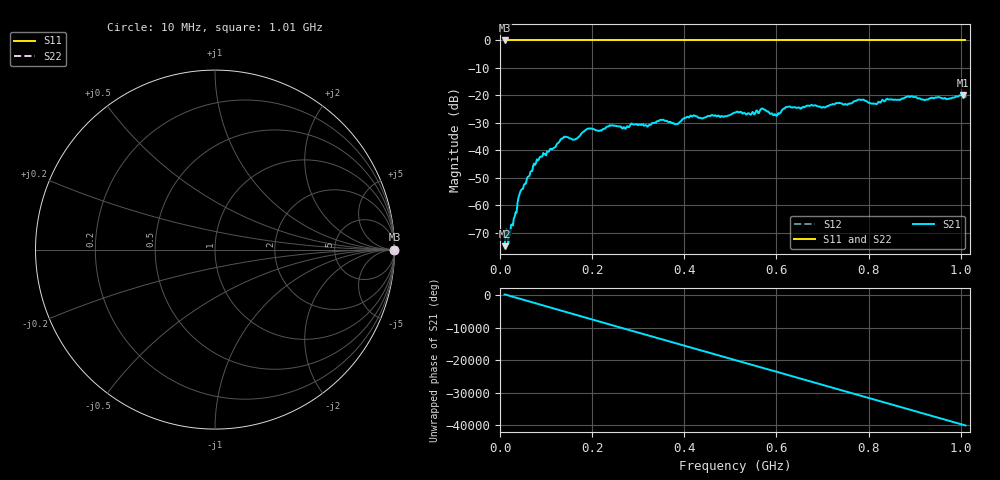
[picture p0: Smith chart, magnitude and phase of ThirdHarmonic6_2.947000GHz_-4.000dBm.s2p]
! 8/17/2025 8:16:29 AM
! C:\ANRITSUVNA\TEMP\TEMP.S2P
! CHANNEL.1
! TR.MEASUREMENT
! RAW.DATA
! RF.CORRECTION.OFF
! AVERAGING.OFF
! IF.BANDWIDTH: 5KHZ
! SWEEPTYPE:  FREQ.SWEEP(Linear)
! Reference Plane Port Info
! PORT:  PORT1  PORT2
! DISTANCE:  0  m  0  m
! TIME:  0  s  0  s
! PHASE.OFFSET:  0  deg.  0  deg.
! LOSS:  0  dB  0  dB
! REF.LOSS:  0  dB  0  dB
! REF.FREQ:  0  Hz  0  Hz
! Power Info
! POWER:  -20  dBm  -20  dBm
! EFF.POWER:  -20  dBm  -20  dBm
! SOURCE.ATTEN:  0  dB  0  dB
! TEST.ATTEN:  0  dB  0  dB
# GHZ S RI R 50.0
! FREQ.GHZ  S11RE  S11IM  S21RE  S21IM  S12RE  S12IM  S22RE  S22IM
!; PortSelection: Port_12
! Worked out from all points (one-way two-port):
!   501 points, 10 MHz to 1.01 GHz, reference 50 ohm
!   highest |S21| = -19.90 dB at 1.004 GHz (marker M1); lowest = -74.9 dB at 10 MHz (marker M2)
!   lowest |S11| = 0.0 dB at 10 MHz (marker M3)
!   |S11| at or under -10 dB: nowhere
!   |S22| runs from 0.0 to 0.0 dB; largest |S21 - S12| = 1.1
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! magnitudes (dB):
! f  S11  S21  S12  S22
! 10 MHz  0.0  -74.9  0.0  0.0
! 22 MHz  0.0  -70.8  0.0  0.0
! 44 MHz  0.0  -55.1  0.0  0.0
! 76 MHz  0.0  -45.3  0.0  0.0
! 136 MHz  0.0  -35.7  0.0  0.0
! 162 MHz  0.0  -36.1  0.0  0.0
! 178 MHz  0.0  -33.7  0.0  0.0
! 192 MHz  0.0  -32.1  0.0  0.0
! 322 MHz  0.0  -31.0  0.0  0.0
! 344 MHz  0.0  -29.4  0.0  0.0
! 382 MHz  0.0  -30.5  0.0  0.0
! 418 MHz  0.0  -27.6  0.0  0.0
! 510 MHz  0.0  -26.2  0.0  0.0
! 570 MHz  0.0  -24.8  0.0  0.0
! 598 MHz  0.0  -27.1  0.0  0.0
! 624 MHz  0.0  -24.2  0.0  0.0
! 678 MHz  0.0  -23.6  0.0  0.0
! 780 MHz  0.0  -21.5  0.0  0.0
! 814 MHz  0.0  -23.0  0.0  0.0
! 844 MHz  0.0  -21.5  0.0  0.0
! 1.004 GHz  0.0  -19.9  0.0  0.0
! 1.01 GHz  0.0  -20.5  0.0  0.0
